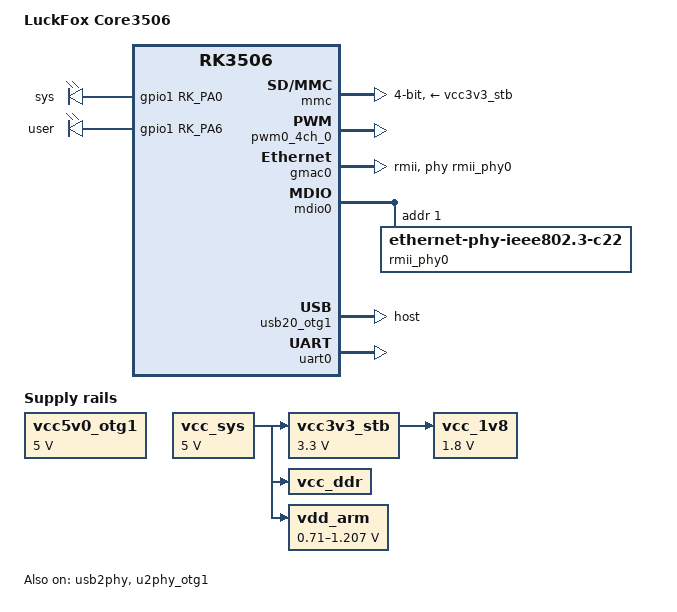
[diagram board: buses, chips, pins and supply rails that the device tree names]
// SPDX-License-Identifier: (GPL-2.0+ OR MIT)
/*
 * Common hardware description for the LuckFox Core3506 SoM on the
 * foxbridge carrier. Two .dts files include this:
 *
 *   rk3506b-luckfox-core3506.dts      — base (no display)
 *   rk3506b-luckfox-core3506-dsi.dts  — base + 7" DSI screen + FT5x06 touch
 *
 * Core3506-0808: RK3506B SoC, 512 MB DDR3L, 8 GB eMMC (on-module)
 * Foxbridge carrier: Ethernet (CH182H2), USB host (OTG1), debug UART,
 *                    SYS LED (D1, GPIO1_A0), USER LED (D5, GPIO1_A6)
 */

#include "rk3506.dtsi"
#include <dt-bindings/suspend/rockchip-rk3506.h>
#include <dt-bindings/gpio/gpio.h>
#include <dt-bindings/leds/common.h>
#include <dt-bindings/clock/rockchip,rk3506-cru.h>

/ {
	model = "LuckFox Core3506";
	compatible = "luckfox,core3506", "rockchip,rk3506";

	chosen {
		/*
		 * NO root= here on purpose. Rockchip U-Boot's
		 * board_fdt_chosen_bootargs() APPENDS this /chosen/bootargs
		 * AFTER the bootloader's cmdline, and the kernel takes the
		 * last root=. A hardcoded root= would override whatever
		 * extlinux/boot.scr selects and make A/B impossible (it pinned
		 * root=/dev/mmcblk0p2 — which only worked because the old
		 * single-slot rootfs happened to be p2). The bootloader owns
		 * root now: extlinux.conf (single-slot) or the A/B boot.scr
		 * (root=PARTLABEL=rootfs_a|_b). See OTA_SWUPDATE_PLAN.md.
		 * console=ttyS0 (plain 8250 on UART0): from-source OP-TEE shares
		 * UART0, so the chain is UART0/ttyS0 (no ttyFIQ0 fiq-debugger).
		 * earlycon/console kept as an always-present early console.
		 */
		bootargs = "earlycon=uart8250,mmio32,0xff0a0000,115200n8 console=ttyS0,115200";
	};

	/* PSCI enabled — OP-TEE provides the secure monitor for SMC calls */

	leds {
		compatible = "gpio-leds";

		sys_led: led-sys {
			gpios = <&gpio1 RK_PA0 GPIO_ACTIVE_HIGH>;
			linux,default-trigger = "heartbeat";
			label = "sys";
		};

		user_led: led-user {
			gpios = <&gpio1 RK_PA6 GPIO_ACTIVE_HIGH>;
			linux,default-trigger = "none";
			label = "user";
		};
	};

	vcc5v0_otg1: vcc5v0-otg1-regulator {
		compatible = "regulator-fixed";
		regulator-name = "vcc5v0_otg1";
		regulator-boot-on;
		regulator-always-on;
		regulator-min-microvolt = <5000000>;
		regulator-max-microvolt = <5000000>;
	};

	/*
	 * Console = UART0 (0xff0a0000), ttyS0 (serial0), on the GPIO0_C6/C7
	 * console pads via uart0_xfer_pins (standard IOMUX func 1 — the vendor-
	 * original pad function, NOT the RMIO crossbar). Plain 8250, no Rockchip
	 * fiq-debugger/ttyFIQ0. This matches the optee_os W14 UART0 default and
	 * U-Boot's native UART0 console — one consistent UART0 chain for the
	 * upstreaming process. (Was UART1/ttyS1 via RMIO; migrated 2026-06-01.)
	 */

	/* Power supply chain */
	vcc_sys: vcc-sys {
		compatible = "regulator-fixed";
		regulator-name = "vcc_sys";
		regulator-always-on;
		regulator-boot-on;
		regulator-min-microvolt = <5000000>;
		regulator-max-microvolt = <5000000>;
	};

	vcc3v3_stb: vcc3v3-stb {
		compatible = "regulator-fixed";
		regulator-name = "vcc3v3_stb";
		regulator-always-on;
		regulator-boot-on;
		regulator-min-microvolt = <3300000>;
		regulator-max-microvolt = <3300000>;
		vin-supply = <&vcc_sys>;
	};

	vcc_1v8: vcc-1v8 {
		compatible = "regulator-fixed";
		regulator-name = "vcc_1v8";
		regulator-always-on;
		regulator-boot-on;
		regulator-min-microvolt = <1800000>;
		regulator-max-microvolt = <1800000>;
		vin-supply = <&vcc3v3_stb>;
	};

	vcc_ddr: vcc-ddr {
		compatible = "regulator-fixed";
		regulator-name = "vcc_ddr";
		regulator-always-on;
		regulator-boot-on;
		vin-supply = <&vcc_sys>;
	};

	vdd_arm: vdd-arm {
		compatible = "pwm-regulator";
		pwms = <&pwm0_4ch_0 0 5000 1>;
		regulator-name = "vdd_arm";
		regulator-min-microvolt = <710000>;
		regulator-max-microvolt = <1207000>;
		regulator-init-microvolt = <1011000>;
		regulator-always-on;
		regulator-boot-on;
		regulator-settling-time-up-us = <250>;
		pwm-supply = <&vcc_sys>;
	};
};

&cpu0 {
	cpu-supply = <&vdd_arm>;
};

/*
 * MMC controller — single controller (mmc@ff480000).
 * On Core3506-0808, eMMC is on-module and permanently occupies this bus.
 * SD card slot on carrier is non-functional (shared bus, silicon limitation).
 * broken-cd: no card-detect GPIO, assume card always present.
 */
&mmc {
	bus-width = <4>;
	broken-cd;
	no-sdio;
	cap-sd-highspeed;
	cap-mmc-highspeed;
	vmmc-supply = <&vcc3v3_stb>;
	vqmmc-supply = <&vcc3v3_stb>;
	pinctrl-names = "default";
	pinctrl-0 = <&sdmmc_clk_pins &sdmmc_cmd_pins &sdmmc_bus4_pins>;
	status = "okay";
};

&pwm0_4ch_0 {
	pinctrl-names = "active";
	pinctrl-0 = <&rm_io21_pwm0_ch0>;
	status = "okay";
};

/* Ethernet — CH182H2 PHY, RMII mode, MAC-driven 50MHz clock
 * SOM outputs 25MHz on ETH_CLK0_25M_OUT → PHY XTALIN (no crystal)
 */
&gmac0 {
	phy-mode = "rmii";
	clock_in_out = "output";

	clocks = <&cru CLK_MAC0>, <&cru CLK_MAC0_PTP>,
		 <&cru PCLK_MAC0>, <&cru ACLK_MAC0>,
		 <&cru CLK_MAC_OUT>;
	clock-names = "stmmaceth", "ptp_ref",
		      "pclk_mac", "aclk_mac",
		      "clk_mac_refout";

	assigned-clocks = <&cru CLK_MAC_OUT>;
	assigned-clock-rates = <25000000>;

	snps,reset-active-low;
	snps,reset-delays-us = <0 20000 100000>;

	pinctrl-names = "default";
	pinctrl-0 = <&eth_rmii0_miim_pins
		     &eth_rmii0_tx_bus2_pins
		     &eth_rmii0_rx_bus2_pins
		     &eth_rmii0_clk_pins
		     &eth_clk0_25m_out_pins>;

	phy-handle = <&rmii_phy0>;
	status = "okay";
};

&mdio0 {
	rmii_phy0: phy@1 {
		compatible = "ethernet-phy-ieee802.3-c22";
		reg = <0x1>;
	};
};

/* USB PHY — must enable parent node for child ports to work */
&usb2phy {
	status = "okay";
};

/* USB1 — host port (H6 USB-C, TPS2553 VBUS switch) */
&usb20_otg1 {
	dr_mode = "host";
	status = "okay";
};

&u2phy_otg1 {
	phy-supply = <&vcc5v0_otg1>;
	status = "okay";
};

/* core3506 NS console: UART0 on the GPIO0_C6 (TX) / GPIO0_C7 (RX) pads via
 * uart0_xfer_pins (standard func 1 — the vendor-original pad function). Same
 * physical pins, upstream-clean. Matches the OP-TEE (W14) + native U-Boot UART0
 * console path. The GPIO0_C IOMUX is NS-accessible (OP-TEE SGRF opens it), so
 * the kernel applies this pinctrl in the normal world. */
&uart0 {
	pinctrl-names = "default";
	pinctrl-0 = <&uart0_xfer_pins>;
	status = "okay";
};
